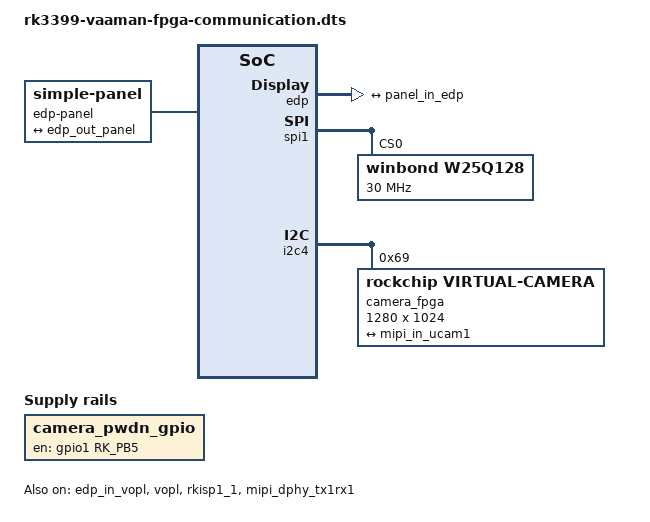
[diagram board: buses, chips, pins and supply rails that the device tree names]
// SPDX-License-Identifier: GPL-2.0+
// Copyright (C) 2023 Vicharak Computers LLP

/dts-v1/;
/plugin/;

#include <dt-bindings/clock/rk3399-cru.h>
#include <dt-bindings/display/media-bus-format.h>
#include <dt-bindings/gpio/gpio.h>
#include <dt-bindings/pinctrl/rockchip.h>

/ {
	metadata {
		title = "Enable FPGA Communication on Vaaman";
		compatible = "vicharak,rk3399-vaaman", "rockchip,rk3399";
		category = "misc";
		exclusive = "rkisp1_1", "mipi_dphy_tx1rx1", "edp", "edp_in_vopl";
		description = "Enables FPGA RX and TX communication on Vaaman, Enable this for configuring FPGA as well as enabling RX TX communication between processor and FPGA";
	};

	fragment@0 {
		target-path = "/";

		__overlay__ {
			edp-panel {
				compatible = "simple-panel";
				status = "okay";

				port {
					panel_in_edp: endpoint {
						remote-endpoint = <&edp_out_panel>;
					};
				};
			};

			camera_pwdn_gpio: camera-pwdn-gpio {
				status = "okay";
				compatible = "regulator-fixed";
				regulator-name = "camera_pwdn_gpio";
				regulator-always-on;
				regulator-boot-on;
				enable-active-high;
				gpio = <&gpio1 RK_PB5 GPIO_ACTIVE_HIGH>;
				pinctrl-names = "default";
				pinctrl-0 = <&cam_pwdn_gpio>;
			};
		};
	};

	fragment@1 {
		target = <&edp>;

		__overlay__ {
			status = "okay";
			force-hpd;

			ports {
				#address-cells = <1>;
				#size-cells = <0>;

				edp_out: port@1 {
					reg = <1>;

					edp_out_panel: endpoint {
						remote-endpoint = <&panel_in_edp>;
					};
				};
			};
		};
	};

	fragment@2 {
		target = <&edp_in_vopl>;

		__overlay__ {
			status = "okay";
		};
	};

	fragment@3 {
		target = <&vopl>;

		__overlay__ {
			assigned-clocks = <&cru DCLK_VOP1_DIV>;
			assigned-clock-parents = <&cru PLL_CPLL>;
			status = "okay";
		};
	};

	fragment@4 {
		target = <&vopl_mmu>;

		__overlay__ {
			status = "okay";
		};
	};

	fragment@5 {
		target = <&spi1>;

		__overlay__ {
			status = "okay";
			#address-cells = <1>;
			#size-cells = <0>;

			w25q128: spi-flash@0 {
				reg = <0>;
				#address-cells = <1>;
				#size-cells = <0>;
				compatible = "winbond,w25q128", "jedec,spi-nor";
				spi-max-frequency = <30000000>;
				status = "okay";
			};
		};
	};

	fragment@6 {
		target = <&i2c4>;

		__overlay__ {
			status = "okay";
			#address-cells = <1>;
			#size-cells = <0>;

			camera_fpga: camera-fpga@69 {
				compatible = "rockchip,virtual-camera";
				reg = <0x69>;
				width = <1280>;
				height = <1024>;
				bus-format = <MEDIA_BUS_FMT_RGB888_1X24>;

				port {
					ucam_out1: endpoint {
						remote-endpoint = <&mipi_in_ucam1>;
						link-frequencies = /bits/ 64 <700000000>;
						data-lanes = <1 2 3 4>;
					};
				};
			};
		};
	};

	fragment@7 {
		target = <&rkisp1_1>;

		__overlay__ {
			status = "okay";

			port {
				isp1_mipi_in: endpoint {
					remote-endpoint = <&dphy_tx1rx1_out>;
				};
			};
		};
	};

	fragment@8 {
		target = <&isp1_mmu>;

		__overlay__ {
			status = "okay";
		};
	};

	fragment@9 {
		target = <&mipi_dphy_tx1rx1>;

		__overlay__ {
			status = "okay";

			ports {
				#address-cells = <1>;
				#size-cells = <0>;

				port@0 {
					reg = <0>;

					mipi_in_ucam1: endpoint {
						remote-endpoint = <&ucam_out1>;
						data-lanes = <1 2 3 4>;
					};
				};

				port@1 {
					reg = <1>;

					dphy_tx1rx1_out: endpoint {
						remote-endpoint = <&isp1_mipi_in>;
					};
				};
			};
		};
	};

	fragment@10 {
		target = <&pinctrl>;

		__overlay__ {
			camera {
				cam_pwdn_gpio: cam-pwdn-gpio {
					rockchip,pins =
						<1 RK_PB5 RK_FUNC_GPIO &pcfg_pull_up>;
				};
			};
		};
	};
};
